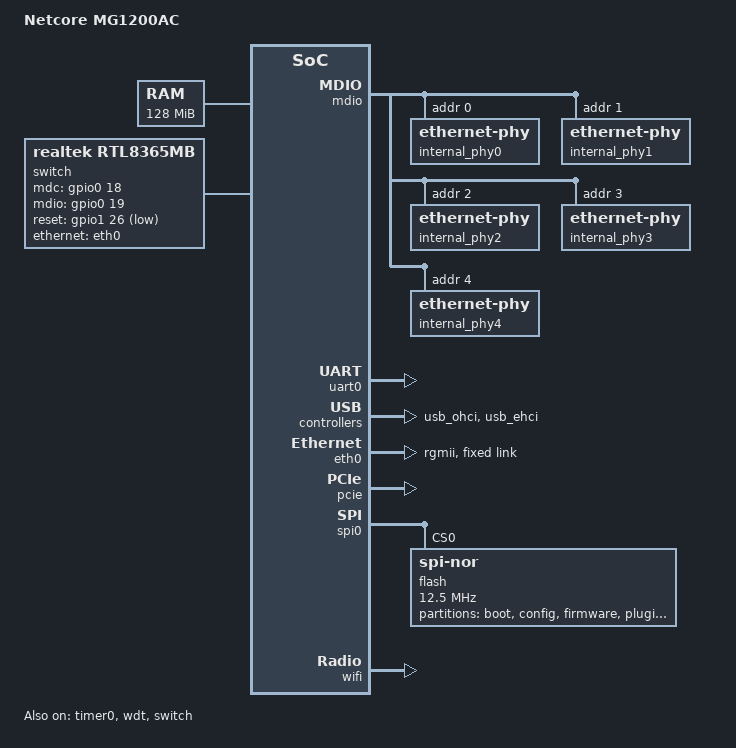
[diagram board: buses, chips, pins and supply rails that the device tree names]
// SPDX-License-Identifier: GPL-2.0-or-later OR BSD-2-Clause
/dts-v1/;

#include <dt-bindings/gpio/gpio.h>
#include "rtl8197f.dtsi"

/ {
	compatible = "netcore,mg1200ac", "realtek,rtl8197f-soc";
	model = "Netcore MG1200AC";

	memory@0 {
		device_type = "memory";
		reg = <0x0 0x8000000>;
	};

	chosen {
		stdout-path = "serial0:38400n8";
		bootargs = "earlycon=rtl8197f,mmio32,0x18147000 console=ttyS0,38400";
	};

	/*
	 * External RTL8367RB switch, bit-banged over the SMI (GPIO MDC/MDIO)
	 * lines the vendor BSP uses for the same purpose: MDC on PC2, MDIO on
	 * PC3, hardware reset on PH2.  The CPU interface is extended port 2
	 * (port 6), RGMII to the internal GMAC.  The four PHY ports map the
	 * board LAN jacks; the WAN jack sits on port 0.
	 */
	switch {
		compatible = "realtek,rtl8365mb";
		mdc-gpios = <&gpio0 18 GPIO_ACTIVE_HIGH>;
		mdio-gpios = <&gpio0 19 GPIO_ACTIVE_HIGH>;
		reset-gpios = <&gpio1 26 GPIO_ACTIVE_LOW>;
		realtek,disable-leds;

		mdio {
			compatible = "realtek,smi-mdio";
			#address-cells = <1>;
			#size-cells = <0>;

			internal_phy0: ethernet-phy@0 {
				reg = <0>;
			};

			internal_phy1: ethernet-phy@1 {
				reg = <1>;
			};

			internal_phy2: ethernet-phy@2 {
				reg = <2>;
			};

			internal_phy3: ethernet-phy@3 {
				reg = <3>;
			};

			internal_phy4: ethernet-phy@4 {
				reg = <4>;
			};
		};

		ports {
			#address-cells = <1>;
			#size-cells = <0>;

			port@0 {
				reg = <0>;
				label = "wan";
				phy-mode = "internal";
				phy-handle = <&internal_phy0>;
			};

			port@1 {
				reg = <1>;
				label = "lan1";
				phy-mode = "internal";
				phy-handle = <&internal_phy1>;
			};

			port@2 {
				reg = <2>;
				label = "lan2";
				phy-mode = "internal";
				phy-handle = <&internal_phy2>;
			};

			port@3 {
				reg = <3>;
				label = "lan3";
				phy-mode = "internal";
				phy-handle = <&internal_phy3>;
			};

			port@4 {
				reg = <4>;
				label = "lan4";
				phy-mode = "internal";
				phy-handle = <&internal_phy4>;
			};

			port@6 {
				reg = <6>;
				ethernet = <&eth0>;
				/*
				 * Plain "rgmii": both ends (RTL8367RB
				 * P6 RGMII and the RTL8197F GMAC) use
				 * their power-on TX/RX delay defaults;
				 * no extra PCB skew compensation needed
				 * on this board.
				 */
				phy-mode = "rgmii";

				fixed-link {
					speed = <1000>;
					full-duplex;
				};
			};
		};
	};
};

&uart0 {
	status = "okay";
};

&gpio0 {
	status = "okay";
};

&gpio1 {
	status = "okay";
};

&timer0 {
	status = "okay";
};

&wdt {
	timeout-sec = <30>;
	status = "okay";
};

&usb_ohci {
	status = "okay";
};

&usb_ehci {
	status = "okay";
};

&eth0 {
	status = "okay";

	/*
	 * The GMAC serves the external switch's CPU port (port 6) over
	 * RGMII.  The receive-clock compensation is owned by the switch
	 * side (see the port@6 node above), so the MAC side stays plain
	 * "rgmii".  The link is a point-to-point run inside the PCB, so
	 * it is described as a fixed link.
	 */
	phy-mode = "rgmii";

	fixed-link {
		speed = <1000>;
		full-duplex;
	};
};

&switch {
	status = "okay";
};

&pcie {
	status = "okay";
};

&spi0 {
	status = "okay";

	flash@0 {
		compatible = "jedec,spi-nor";
		reg = <0>;
		spi-max-frequency = <12500000>;

		/*
		 * Vendor layout, as printed by the stock firmware.  The two unaligned "Kernel" / "RootFS"
		 * sub-partitions are merged into "firmware"; the trailing
		 * "ALL" (full-flash) entry is dropped.
		 */
		partitions {
			compatible = "fixed-partitions";
			#address-cells = <1>;
			#size-cells = <1>;

			partition@0 {
				label = "boot";
				reg = <0x0 0x20000>;
				read-only;
			};

			partition@20000 {
				label = "config";
				reg = <0x20000 0x10000>;
				read-only;

				/* The factory MIB: ASCII "H601" at offset 0, a
				 * big-endian length at 4, then the board
				 * settings: the two Ethernet addresses at 0x7
				 * and 0xd, then one record per wireless
				 * interface starting at 0x13, each holding 8
				 * addresses, the per-channel TX power levels
				 * and the board options.  Same layout the
				 * vendor userspace decodes: struct
				 * hw_setting is boardVer, nic0Addr, nic1Addr
				 * and then hw_wlan_setting records, read at
				 * HW_SETTING_ETHMAC_OFFSET 1 and
				 * HW_WLAN_SETTING_OFFSET 13, both relative to
				 * that 6-byte header.
				 *
				 * The interface's own record is taken whole
				 * and indexed by the driver, so only its
				 * start and length are ABI here.  163 bytes
				 * is the part this core reads: 48 bytes of
				 * addresses, seven 14-entry per-channel power
				 * arrays and the 17 board-option bytes
				 * (regulatory domain, RFE type, crystal
				 * trim, thermal tracking flag).  The record
				 * at 0x668 belongs to the PCIe 5 GHz radio.
				 */
				compatible = "nvmem-cells";
				#address-cells = <1>;
				#size-cells = <1>;

				efuse_config_13: efuse@13 {
					reg = <0x13 0xa3>;
				};
			};

			/* Winbond w25q128 (16 MiB). */
			partition@30000 {
				label = "firmware";
				reg = <0x30000 0xad0000>;
			};

			partition@b00000 {
				label = "plugin";
				reg = <0xb00000 0x4d0000>;
			};

			partition@fd0000 {
				label = "reserve";
				reg = <0xfd0000 0x10000>;
				read-only;
			};

			partition@fe0000 {
				label = "parameter2";
				reg = <0xfe0000 0x10000>;
				read-only;
			};

			partition@ff0000 {
				label = "parameter1";
				reg = <0xff0000 0x10000>;
				read-only;
			};
		};
	};
};

&wifi {
	status = "okay";

	/* The board's factory record from the "config" MIB partition (this
	 * SoC's on-die efuse reads blank): its first field is the address
	 * wlan0 runs with, the rest are the per-channel TX power levels.
	 * Without it the driver warns and falls back to a random locally
	 * administered address, and every rate is driven from the vendor's
	 * default level instead of this unit's calibrated one.
	 */
	nvmem-cells = <&efuse_config_13>;
	nvmem-cell-names = "efuse";
};
